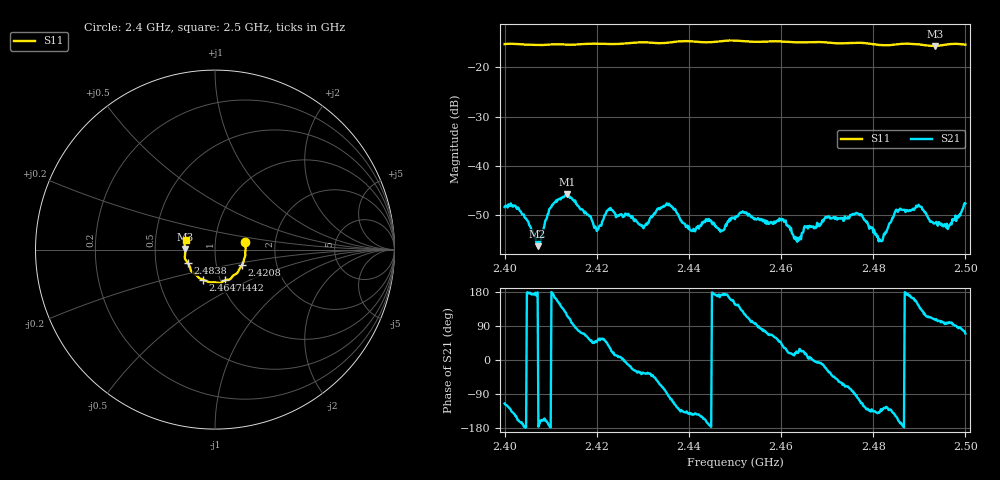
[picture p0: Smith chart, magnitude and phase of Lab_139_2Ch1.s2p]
# Hz S RI R 50
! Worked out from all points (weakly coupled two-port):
!   601 points, 2.4 GHz to 2.5 GHz, reference 50 ohm
!   highest |S21| = -45.86 dB at 2.4135 GHz (marker M1); lowest = -56.4 dB at 2.4072 GHz (marker M2)
!   lowest |S11| = -15.6 dB at 2.4933 GHz (marker M3), VSWR 1.40, Z = 35.8 + j0.0505 ohm
!   |S11| at or under -10 dB: start of sweep to end of sweep
!   S12 and S22 are empty: the file has one direction only
!   S11 on the Smith chart (normalised r, x): 2.4 GHz: 1.40, +0.12; 2.4208 GHz: 1.33, -0.24; 2.4442 GHz: 1.05, -0.37; 2.4647 GHz: 0.83, -0.29; 2.4838 GHz: 0.73, -0.11; 2.5 GHz: 0.72, +0.08
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2.4e9  0.1679 0.0411  -0.0016 -0.00344  0 0  0 0
2.403333e9  0.1712 0.0224  -0.00331 -0.000993  0 0  0 0
2.407167e9  0.1693 -0.0109  -0.00151 3.89e-05  0 0  0 0
2.410167e9  0.169 -0.0288  -0.00381 3.79e-05  0 0  0 0
2.4135e9  0.1641 -0.0474  -0.00238 0.00451  0 0  0 0
2.416667e9  0.1589 -0.0682  0.00114 0.00341  0 0  0 0
2.420833e9  0.1507 -0.0873  0.00137 0.00205  0 0  0 0
2.422667e9  0.1448 -0.0951  0.00293 0.00215  0 0  0 0
2.43e9  0.1244 -0.1303  0.00196 -0.00129  0 0  0 0
2.433333e9  0.1079 -0.1402  0.00191 -0.00307  0 0  0 0
2.440833e9  0.0785 -0.1668  -0.00173 -0.00131  0 0  0 0
2.444167e9  0.0567 -0.1712  -0.00269 -0.000584  0 0  0 0
2.45e9  0.0243 -0.1864  -0.00237 0.00158  0 0  0 0
2.464667e9  -0.0673 -0.167  0.0019 0.000824  0 0  0 0
2.466667e9  -0.0802 -0.1626  0.00237 9.82e-05  0 0  0 0
2.476833e9  -0.1313 -0.1206  -0.000711 -0.00314  0 0  0 0
2.481667e9  -0.1423 -0.0913  -0.00109 -0.00131  0 0  0 0
2.483333e9  -0.1504 -0.0761  -0.00164 -0.0018  0 0  0 0
2.483833e9  -0.153 -0.072  -0.00175 -0.00201  0 0  0 0
2.489833e9  -0.168 -0.0373  -0.00325 0.00233  0 0  0 0
2.493333e9  -0.1659 0.000686  -0.000793 0.00246  0 0  0 0
2.5e9  -0.1625 0.0527  0.00141 0.00385  0 0  0 0
